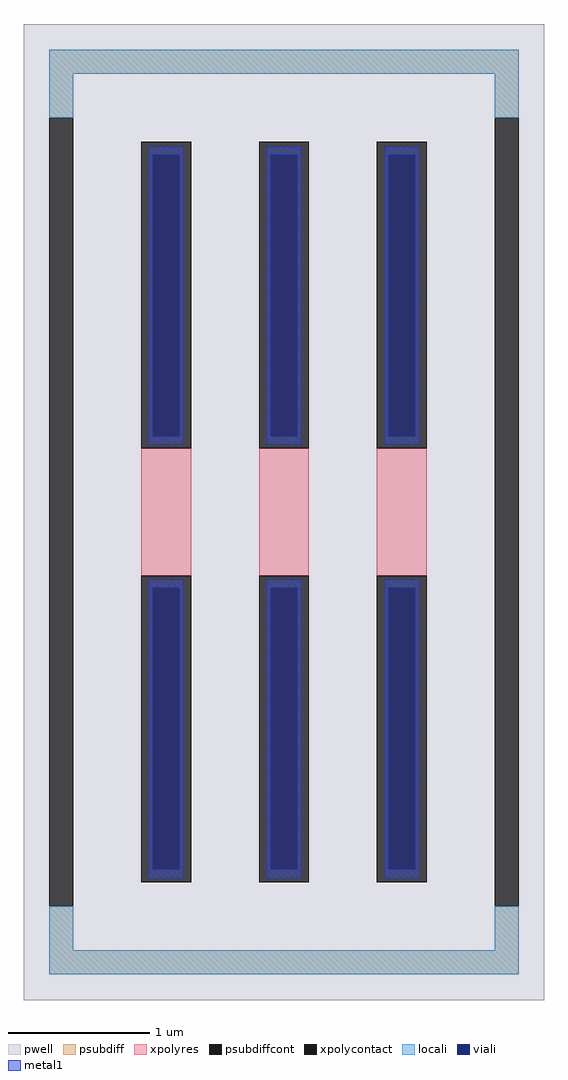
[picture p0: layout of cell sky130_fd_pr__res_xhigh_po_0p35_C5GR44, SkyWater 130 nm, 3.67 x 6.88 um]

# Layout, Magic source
magic
tech sky130A
magscale 1 2
<< pwell >>
rect -367 -688 367 688
<< psubdiff >>
rect -331 618 331 652
rect -331 556 -297 618
rect 297 556 331 618
rect -331 -618 -297 -556
rect 297 -618 331 -556
rect -331 -652 331 -618
<< psubdiffcont >>
rect -331 -556 -297 556
rect 297 -556 331 556
<< xpolycontact >>
rect -201 90 -131 522
rect -201 -522 -131 -90
rect -35 90 35 522
rect -35 -522 35 -90
rect 131 90 201 522
rect 131 -522 201 -90
<< xpolyres >>
rect -201 -90 -131 90
rect -35 -90 35 90
rect 131 -90 201 90
<< locali >>
rect -331 618 331 652
rect -331 556 -297 618
rect 297 556 331 618
rect -331 -618 -297 -556
rect 297 -618 331 -556
rect -331 -652 331 -618
<< viali >>
rect -185 107 -147 504
rect -19 107 19 504
rect 147 107 185 504
rect -185 -504 -147 -107
rect -19 -504 19 -107
rect 147 -504 185 -107
<< metal1 >>
rect -191 504 -141 516
rect -191 107 -185 504
rect -147 107 -141 504
rect -191 95 -141 107
rect -25 504 25 516
rect -25 107 -19 504
rect 19 107 25 504
rect -25 95 25 107
rect 141 504 191 516
rect 141 107 147 504
rect 185 107 191 504
rect 141 95 191 107
rect -191 -107 -141 -95
rect -191 -504 -185 -107
rect -147 -504 -141 -107
rect -191 -516 -141 -504
rect -25 -107 25 -95
rect -25 -504 -19 -107
rect 19 -504 25 -107
rect -25 -516 25 -504
rect 141 -107 191 -95
rect 141 -504 147 -107
rect 185 -504 191 -107
rect 141 -516 191 -504
<< properties >>
string FIXED_BBOX -314 -635 314 635
string gencell sky130_fd_pr__res_xhigh_po_0p35
string library sky130
string parameters w 0.350 l 1.06 m 1 nx 3 wmin 0.350 lmin 0.50 rho 2000 val 7.132k dummy 0 dw 0.0 term 188.2 sterm 0.0 caplen 0 wmax 0.350 guard 1 glc 1 grc 1 gtc 0 gbc 0 compatible {sky130_fd_pr__res_xhigh_po_0p35  sky130_fd_pr__res_xhigh_po_0p69 sky130_fd_pr__res_xhigh_po_1p41  sky130_fd_pr__res_xhigh_po_2p85 sky130_fd_pr__res_xhigh_po_5p73} snake 0 full_metal 1 n_guard 0 hv_guard 0 vias 1 viagb 0 viagt 0 viagl 0 viagr 0
<< end >>
